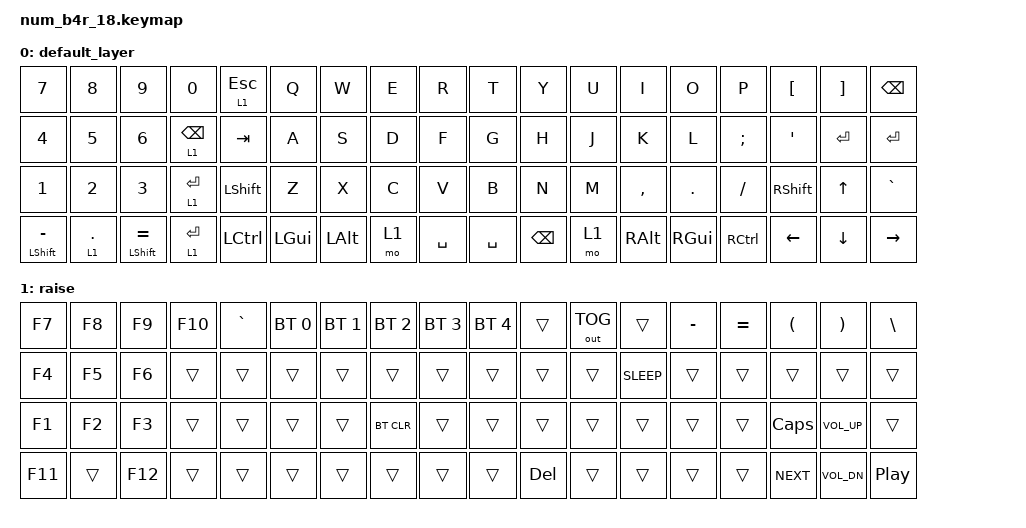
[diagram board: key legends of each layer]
/*
 * Copyright (c) 2020 The ZMK Contributors
 *
 * SPDX-License-Identifier: MIT
 */

#include <behaviors.dtsi>
#include <dt-bindings/zmk/keys.h>
#include <dt-bindings/zmk/bt.h>
#include <dt-bindings/zmk/outputs.h>

/ {
	keymap {
		compatible = "zmk,keymap";

		default_layer {
				// -------------------------------------------------------------------------------------------------------------------------------------
				// |   7   |  8   |  9   |  0   |LT(1,ESC)| Q |   W   |  E    |  R   |  T    |  Y   |  U   |  I   |  O   |  P   |   [   |  ]    | BSC  |
				// |   4   |  5   |  6   |LT(1,ESC)|TAB|  A   |   S   |  D    |  F   |  G    |  H   |  J   |  K   |  L   |  ;   |   '   |     ENTER    |
				// |   1   |  2   |  3   |LT(1,ESC)|LSFT| Z   |   X   |  C    |  V   |  B    |  N   |  M   |  ,   |  .   |  /   | RSHIFT|  UP   | GRV  |
				// |SFT(MINS)|COM |EQL |SFT(BSC)| LCTL | LGUI |  LALT | MO(1) |    SPACE     |  BSC | MO(1)| RALT | RGUI | RCTL | LEFT  | DOWN  | RIGHT|
			bindings = <
				&kp N7           &kp N8    &kp N9           &kp N0     &lt 1 ESC &kp Q    &kp W    &kp E    &kp R     &kp T     &kp Y    &kp U    &kp I     &kp O    &kp P     &kp LBKT  &kp RBKT &kp BSPC  
				&kp N4           &kp N5    &kp N6           &lt 1 BSPC &kp TAB   &kp A    &kp S    &kp D    &kp F     &kp G     &kp H    &kp J    &kp K     &kp L    &kp SEMI  &kp SQT   &kp RET  &kp RET   
				&kp N1           &kp N2    &kp N3           &lt 1 RET  &kp LSHFT &kp Z    &kp X    &kp C    &kp V     &kp B     &kp N    &kp M    &kp COMMA &kp DOT  &kp FSLH  &kp RSHFT &kp UP   &kp GRAVE 
				&mt LSHIFT MINUS &lt 1 DOT &mt LSHIFT EQUAL &lt 1 RET  &kp LCTRL &kp LGUI &kp LALT &mo 1    &kp SPACE &kp SPACE &kp BSPC &mo 1    &kp RALT  &kp RGUI &kp RCTRL &kp LEFT  &kp DOWN &kp RIGHT 
			>;
		};

		raise {
			bindings = <
				&kp F7   &kp F8   &kp F9   &kp F10  &kp GRAVE &bt BT_SEL 0 &bt BT_SEL 1 &bt BT_SEL 2 &bt BT_SEL 3 &bt BT_SEL 4 &trans   &out OUT_TOG &trans      &kp MINUS &kp EQUAL &kp LPAR   &kp RPAR     &kp BSLH 
				&kp F4   &kp F5   &kp F6   &trans   &trans    &trans       &trans       &trans       &trans       &trans       &trans   &trans       &kp K_SLEEP &trans    &trans    &trans     &trans       &trans   
				&kp F1   &kp F2   &kp F3   &trans   &trans    &trans       &trans       &bt BT_CLR   &trans       &trans       &trans   &trans       &trans      &trans    &trans    &kp CLCK   &kp C_VOL_UP &trans   
				&kp F11  &trans   &kp F12  &trans   &trans    &trans       &trans       &trans       &trans       &trans       &kp DEL  &trans       &trans      &trans    &trans    &kp C_NEXT &kp C_VOL_DN &kp C_PP 
			>;
		};
	};
};
